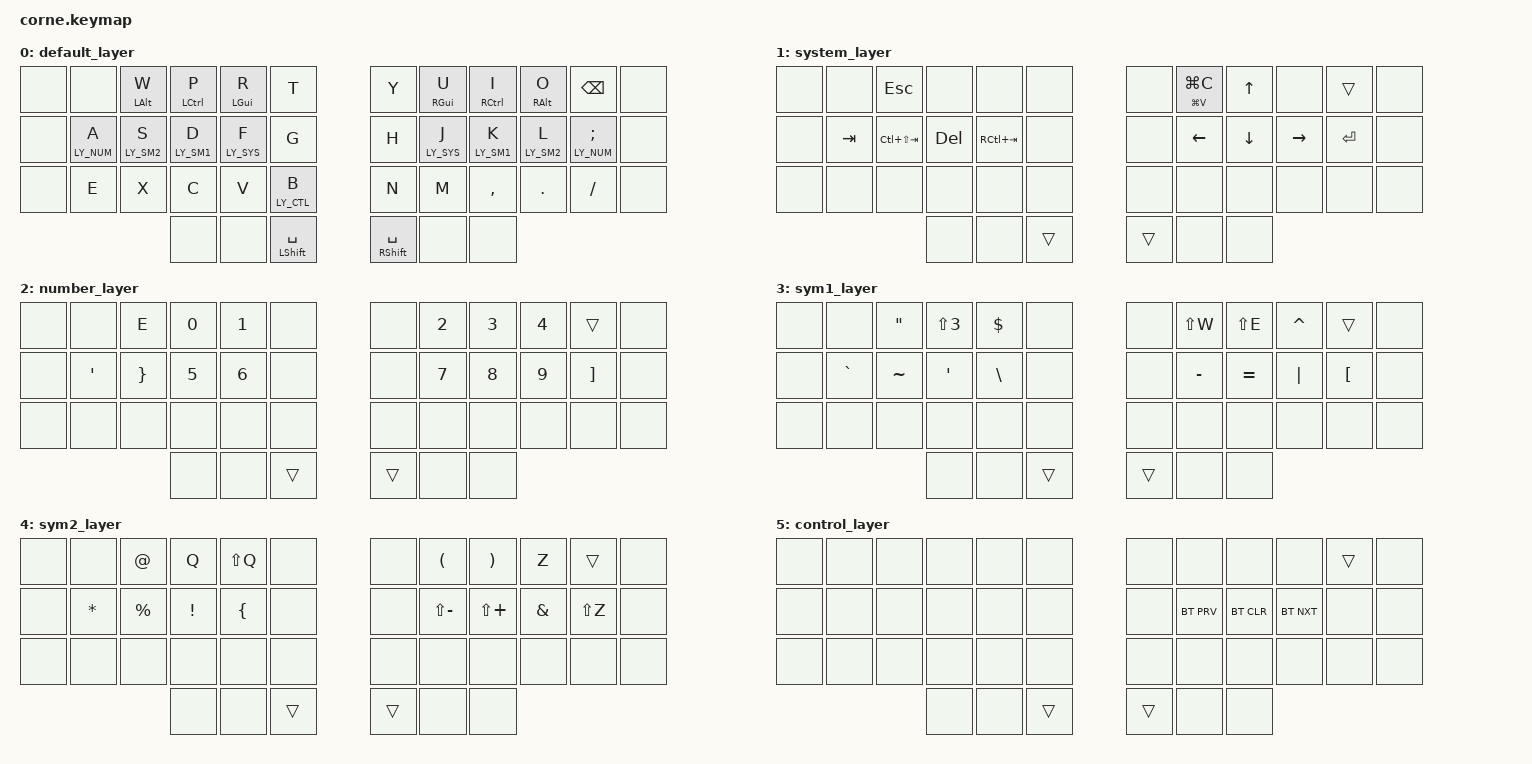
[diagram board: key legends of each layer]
/*
 * Copyright (c) 2020 The ZMK Contributors
 *
 * SPDX-License-Identifier: MIT
 */

#include <behaviors.dtsi>
#include <dt-bindings/zmk/keys.h>
#include <dt-bindings/zmk/bt.h>

// Layers
#define LY_ALP 0
#define LY_SYS 1
#define LY_NUM 2
#define LY_SM1 3
#define LY_SM2 4
#define LY_CTL 5


/ {
        behaviors {
                hm: homerow_mods {
                        compatible = "zmk,behavior-hold-tap";
                        label = "HOMEROW_MODS";
                        #binding-cells = <2>;
                        tapping-term-ms = <300>;
                        flavor = "tap-preferred";
                        bindings = <&kp>, <&kp>;
                };
                
                hl: homerow_layers {
                        compatible = "zmk,behavior-hold-tap";
                        label = "HOMEROW_LAYERS";
                        #binding-cells = <2>;
                        tapping-term-ms = <220>;
                        flavor = "tap-preferred";
                        bindings = <&sl>, <&kp>;
                };

                td: tapdance {
                        compatible = "zmk,behavior-hold-tap";
                        label = "TAPDANCE";
                        #binding-cells = <2>;
                        tapping-term-ms = <190>;
                        flavor = "tap-preferred";
                        bindings = <&kp>, <&kp>;
                };
        };

        keymap {
                compatible = "zmk,keymap";

                default_layer {
                        bindings = <
                                &none    &none           &hm LALT W         &hm LCTRL P       &hm LGUI R      &kp T                    &kp Y                &hm RGUI U          &hm RCTRL I     &hm RALT O         &kp BACKSPACE       &none
                                &none    &hl LY_NUM A    &hl LY_SM2 S       &hl LY_SM1 D      &hl LY_SYS F    &kp G                    &kp H                &hl LY_SYS J        &hl LY_SM1 K    &hl LY_SM2 L       &hl LY_NUM SEMI     &none
                                &none    &kp E           &kp X              &kp C             &kp V           &hl LY_CTL B             &kp N                &kp M               &kp COMMA       &kp DOT            &kp SLASH           &none
                                                                            &none             &none           &td LSHIFT SPACE         &td RSHIFT SPACE     &none               &none
                        >;
                };

                system_layer {
                        bindings = <
                                &none    &none           &kp ESC            &none             &none           &none                    &none                &td LG(V) LG(C)    &kp UP           &none             &trans                &none
                                &none    &kp TAB         &kp LC(LS(TAB))    &kp DEL           &kp RC(TAB)     &none                    &none                &kp LEFT           &kp DOWN         &kp RIGHT         &kp RETURN            &none
                                &none    &none           &none              &none             &none           &none                    &none                &none              &none            &none             &none                 &none
                                                                            &none             &none           &trans                   &trans               &none              &none 
                        >;
                };

                number_layer {
                        bindings = <
                                &none    &none           &kp E              &kp N0            &kp N1          &none                    &none                &kp N2             &kp N3           &kp N4            &trans                &none
                                &none    &kp APOS        &kp RBRC           &kp N5            &kp N6          &none                    &none                &kp N7             &kp N8           &kp N9            &kp RBKT              &none
                                &none    &none           &none              &none             &none           &none                    &none                &none              &none            &none             &none                 &none
                                                                            &none             &none           &trans                   &trans               &none              &none 
                        >;
                };

                sym1_layer {
                        bindings = <
                                &none    &none          &kp DQT             &kp LS(N3)        &kp DLLR        &none                    &none                &kp LS(W)          &kp LS(E)        &kp CARET         &trans                &none
                                &none    &kp GRAVE      &kp TILDE           &kp APOS          &kp BSLH        &none                    &none                &kp MINUS          &kp EQUAL        &kp PIPE          &kp LBKT              &none
                                &none    &none          &none               &none             &none           &none                    &none                &none              &none            &none             &none                 &none
                                                                            &none             &none           &trans                   &trans               &none              &none 
                        >;
                };

                sym2_layer {
                        bindings = <
                                &none    &none          &kp AT              &kp Q             &kp LS(Q)       &none                    &none                &kp LPAR           &kp RPAR         &kp Z             &trans                &none
                                &none    &kp STAR       &kp PRCNT           &kp EXCL          &kp LBRC        &none                    &none                &kp LS(MINUS)      &kp LS(PLUS)     &kp AMPS          &kp LS(Z)             &none
                                &none    &none          &none               &none             &none           &none                    &none                &none              &none            &none             &none                 &none
                                                                            &none             &none           &trans                   &trans               &none              &none 
                        >;
                };

                control_layer {
                        bindings = <
                                &none    &none          &none               &none             &none           &none                    &none                &none              &none            &none             &trans                &none
                                &none    &none          &none               &none             &none           &none                    &none                &bt BT_PRV         &bt BT_CLR       &bt BT_NXT        &none                 &none
                                &none    &none          &none               &none             &none           &none                    &none                &none              &none            &none             &none                 &none
                                                                            &none             &none           &trans                   &trans               &none              &none 
                        >;
                };

/*
                template_layer {
                        bindings = <
                                &none    &none          &none               &none              &none           &none                    &none               &none              &none            &none             &none                 &none
                                &none    &none          &none               &none              &none           &none                    &none               &none              &none            &none             &none                 &none
                                &none    &none          &none               &none              &none           &none                    &none               &none              &none            &none             &none                 &none
                                                                            &none              &none           &none                    &none               &none              &none 
                        >;
                };
*/
        };
};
